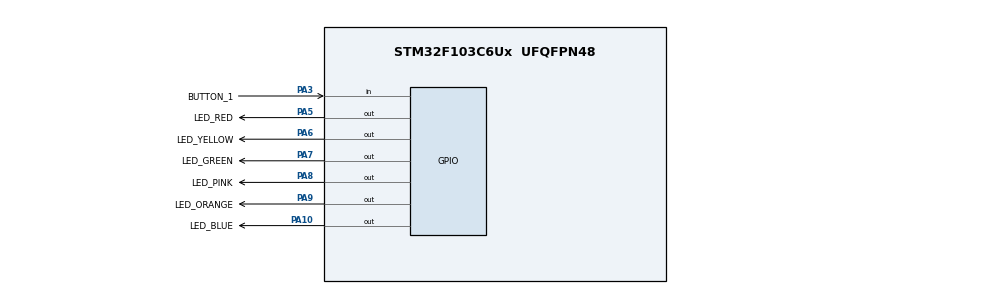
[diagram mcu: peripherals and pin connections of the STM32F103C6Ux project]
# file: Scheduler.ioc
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Mcu.Family=STM32F1
Mcu.Name=STM32F103C6Ux
Mcu.Package=UFQFPN48
NVIC.PriorityGroup=NVIC_PRIORITYGROUP_4
NVIC.TIM2_IRQn=true\:0\:0\:false\:false\:true\:true\:true
PA10.GPIO_Label=LED_BLUE
PA10.Signal=GPIO_Output
PA3.GPIO_Label=BUTTON_1
PA3.GPIO_PuPd=GPIO_PULLUP
PA3.Signal=GPIO_Input
PA5.GPIO_Label=LED_RED
PA5.Signal=GPIO_Output
PA6.GPIO_Label=LED_YELLOW
PA6.Signal=GPIO_Output
PA7.GPIO_Label=LED_GREEN
PA7.Signal=GPIO_Output
PA8.GPIO_Label=LED_PINK
PA8.Signal=GPIO_Output
PA9.GPIO_Label=LED_ORANGE
PA9.Signal=GPIO_Output
ProjectManager.HeapSize=0x200
ProjectManager.StackSize=0x400
ProjectManager.TargetToolchain=STM32CubeIDE
RCC.APB1Freq_Value=8000000
RCC.APB2Freq_Value=8000000
TIM2.Period=9
TIM2.Prescaler=7999
VP_SYS_VS_ND.Mode=No_Debug
VP_TIM2_VS_ClockSourceINT.Mode=Internal
board=custom

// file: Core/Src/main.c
/* USER CODE BEGIN Header */
/**
  ******************************************************************************
  * @file           : main.c
  * @brief          : Main program body
  ******************************************************************************
  * @attention
  *
  * <h2><center>&copy; Copyright (c) 2022 STMicroelectronics.
  * All rights reserved.</center></h2>
  *
  * This software component is licensed by ST under BSD 3-Clause license,
  * the "License"; You may not use this file except in compliance with the
  * License. You may obtain a copy of the License at:
  *                        opensource.org/licenses/BSD-3-Clause
  *
  ******************************************************************************
  */
/* USER CODE END Header */
#include "main.h"

/* USER CODE BEGIN Includes */
#include "button.h"
#include "scheduler.h"
/* USER CODE END Includes */

TIM_HandleTypeDef htim2;

void SystemClock_Config(void);
static void MX_GPIO_Init(void);
static void MX_TIM2_Init(void);

/* USER CODE BEGIN 0 */
void ledREDtest(){
	HAL_GPIO_TogglePin(LED_RED_GPIO_Port, LED_RED_Pin);
}
void ledYELLOWtest(){
	HAL_GPIO_TogglePin(LED_YELLOW_GPIO_Port, LED_YELLOW_Pin);
}
void ledGREENtest(){
	HAL_GPIO_TogglePin(LED_GREEN_GPIO_Port, LED_GREEN_Pin);
}
void ledPINKtest(){
	HAL_GPIO_TogglePin(LED_PINK_GPIO_Port, LED_PINK_Pin);
}
void ledORANGEtest(){
	HAL_GPIO_TogglePin(LED_ORANGE_GPIO_Port, LED_ORANGE_Pin);
}
void ledBLUEtest(){
	HAL_GPIO_TogglePin(LED_BLUE_GPIO_Port, LED_BLUE_Pin);
}
/* USER CODE END 0 */

int main(void)
{

  /* MCU Configuration--------------------------------------------------------*/

  /* Reset of all peripherals, Initializes the Flash interface and the Systick. */
  HAL_Init();

  /* Configure the system clock */
  SystemClock_Config();

  /* Initialize all configured peripherals */
  MX_GPIO_Init();
  MX_TIM2_Init();
  /* USER CODE BEGIN 2 */
  HAL_TIM_Base_Start_IT(&htim2);
  /* USER CODE END 2 */

  /* Infinite loop */
  /* USER CODE BEGIN WHILE */
  SCH_Add_Task(ledREDtest, 50, 50);
  SCH_Add_Task(ledYELLOWtest, 100, 100);
  SCH_Add_Task(ledGREENtest, 150, 150);
  SCH_Add_Task(ledPINKtest, 200, 200);
  SCH_Add_Task(ledORANGEtest, 250, 250);
  SCH_Add_Task(ledBLUEtest, 100, 0);
  while (1)
  {
    /* USER CODE END WHILE */

    /* USER CODE BEGIN 3 */
	  SCH_Dispatch_Tasks();
  }
  /* USER CODE END 3 */
}

void SystemClock_Config(void)
{
  RCC_OscInitTypeDef RCC_OscInitStruct = {0};
  RCC_ClkInitTypeDef RCC_ClkInitStruct = {0};

  /** Initializes the RCC Oscillators according to the specified parameters
  * in the RCC_OscInitTypeDef structure.
  */
  RCC_OscInitStruct.OscillatorType = RCC_OSCILLATORTYPE_HSI;
  RCC_OscInitStruct.HSIState = RCC_HSI_ON;
  RCC_OscInitStruct.HSICalibrationValue = RCC_HSICALIBRATION_DEFAULT;
  RCC_OscInitStruct.PLL.PLLState = RCC_PLL_NONE;
  if (HAL_RCC_OscConfig(&RCC_OscInitStruct) != HAL_OK)
  {
    Error_Handler();
  }
  /** Initializes the CPU, AHB and APB buses clocks
  */
  RCC_ClkInitStruct.ClockType = RCC_CLOCKTYPE_HCLK|RCC_CLOCKTYPE_SYSCLK
                              |RCC_CLOCKTYPE_PCLK1|RCC_CLOCKTYPE_PCLK2;
  RCC_ClkInitStruct.SYSCLKSource = RCC_SYSCLKSOURCE_HSI;
  RCC_ClkInitStruct.AHBCLKDivider = RCC_SYSCLK_DIV1;
  RCC_ClkInitStruct.APB1CLKDivider = RCC_HCLK_DIV1;
  RCC_ClkInitStruct.APB2CLKDivider = RCC_HCLK_DIV1;

  if (HAL_RCC_ClockConfig(&RCC_ClkInitStruct, FLASH_LATENCY_0) != HAL_OK)
  {
    Error_Handler();
  }
}

static void MX_TIM2_Init(void)
{

  TIM_ClockConfigTypeDef sClockSourceConfig = {0};
  TIM_MasterConfigTypeDef sMasterConfig = {0};

  htim2.Instance = TIM2;
  htim2.Init.Prescaler = 7999;
  htim2.Init.CounterMode = TIM_COUNTERMODE_UP;
  htim2.Init.Period = 9;
  htim2.Init.ClockDivision = TIM_CLOCKDIVISION_DIV1;
  htim2.Init.AutoReloadPreload = TIM_AUTORELOAD_PRELOAD_DISABLE;
  if (HAL_TIM_Base_Init(&htim2) != HAL_OK)
  {
    Error_Handler();
  }
  sClockSourceConfig.ClockSource = TIM_CLOCKSOURCE_INTERNAL;
  if (HAL_TIM_ConfigClockSource(&htim2, &sClockSourceConfig) != HAL_OK)
  {
    Error_Handler();
  }
  sMasterConfig.MasterOutputTrigger = TIM_TRGO_RESET;
  sMasterConfig.MasterSlaveMode = TIM_MASTERSLAVEMODE_DISABLE;
  if (HAL_TIMEx_MasterConfigSynchronization(&htim2, &sMasterConfig) != HAL_OK)
  {
    Error_Handler();
  }

}

static void MX_GPIO_Init(void)
{
  GPIO_InitTypeDef GPIO_InitStruct = {0};

  /* GPIO Ports Clock Enable */
  __HAL_RCC_GPIOA_CLK_ENABLE();

  /*Configure GPIO pin Output Level */
  HAL_GPIO_WritePin(GPIOA, LED_RED_Pin|LED_YELLOW_Pin|LED_GREEN_Pin|LED_PINK_Pin
                          |LED_ORANGE_Pin|LED_BLUE_Pin, GPIO_PIN_RESET);

  /*Configure GPIO pin : BUTTON_1_Pin */
  GPIO_InitStruct.Pin = BUTTON_1_Pin;
  GPIO_InitStruct.Mode = GPIO_MODE_INPUT;
  GPIO_InitStruct.Pull = GPIO_PULLUP;
  HAL_GPIO_Init(BUTTON_1_GPIO_Port, &GPIO_InitStruct);

  /*Configure GPIO pins : LED_RED_Pin LED_YELLOW_Pin LED_GREEN_Pin LED_PINK_Pin
                           LED_ORANGE_Pin LED_BLUE_Pin */
  GPIO_InitStruct.Pin = LED_RED_Pin|LED_YELLOW_Pin|LED_GREEN_Pin|LED_PINK_Pin
                          |LED_ORANGE_Pin|LED_BLUE_Pin;
  GPIO_InitStruct.Mode = GPIO_MODE_OUTPUT_PP;
  GPIO_InitStruct.Pull = GPIO_NOPULL;
  GPIO_InitStruct.Speed = GPIO_SPEED_FREQ_LOW;
  HAL_GPIO_Init(GPIOA, &GPIO_InitStruct);

}

/* USER CODE BEGIN 4 */
void HAL_TIM_PeriodElapsedCallback(TIM_HandleTypeDef *htim){
	SCH_Update();
}
/* USER CODE END 4 */

void Error_Handler(void)
{
  __disable_irq();
  while (1)
  {
  }
}

/************************ (C) COPYRIGHT STMicroelectronics *****END OF FILE****/
